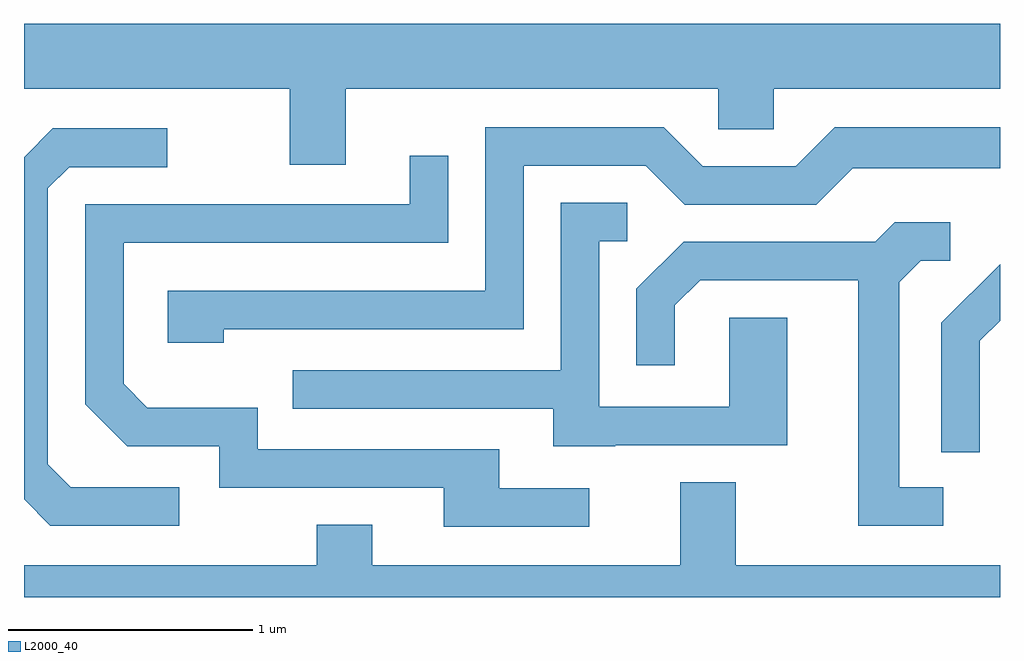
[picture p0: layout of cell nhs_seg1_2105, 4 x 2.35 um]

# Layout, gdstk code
import gdstk
lib = gdstk.Library(unit=1e-6, precision=1e-09)
def P(c, l, *ps):  # polygons
    for p in ps: c.add(gdstk.Polygon(p, *l))
L2000_40 = (2000, 40)

nhs_seg1_2105 = lib.new_cell('nhs_seg1_2105')
P(nhs_seg1_2105, L2000_40, [(250.929,901.796),(252.456,901.796),(252.456,901.631),(252.684,901.631),(252.684,901.796),(253.611,901.796),(253.611,902.064),(249.611,902.064),(249.611,901.796),(250.701,901.796),(250.701,901.486),(250.929,901.486)],
  [(250.429,900.811),(251.659,900.811),(251.659,901.481),(252.159,901.481),(252.319,901.321),(252.857,901.321),(253.007,901.471),(253.611,901.471),(253.611,901.639),(252.934,901.639),(252.774,901.479),(252.392,901.479),(252.232,901.639),(251.501,901.639),(251.501,900.969),(250.201,900.969),(250.201,900.756),(250.429,900.756)],
  [(250.248,900.164),(249.802,900.164),(249.709,900.257),(249.709,901.389),(249.797,901.476),(250.198,901.476),(250.198,901.634),(249.729,901.634),(249.611,901.517),(249.611,900.114),(249.719,900.006),(250.248,900.006)],
  [(251.928,900.159),(251.559,900.159),(251.559,900.319),(250.569,900.319),(250.569,900.489),(250.117,900.489),(250.019,900.587),(250.019,901.166),(251.349,901.166),(251.349,901.523),(251.191,901.523),(251.191,901.324),(249.861,901.324),(249.861,900.504),(250.034,900.331),(250.411,900.331),(250.411,900.161),(251.331,900.161),(251.331,900.001),(251.928,900.001)],
  [(252.035,900.336),(252.739,900.336),(252.739,900.859),(252.501,900.859),(252.501,900.494),(251.969,900.494),(251.969,901.171),(252.083,901.171),(252.083,901.329),(251.811,901.329),(251.811,900.644),(250.713,900.644),(250.713,900.486),(251.781,900.486),(251.781,900.331),(252.035,900.331)],
  [(253.378,900.164),(253.199,900.164),(253.199,901.004),(253.287,901.091),(253.408,901.091),(253.408,901.249),(253.179,901.249),(253.099,901.169),(252.314,901.169),(252.121,900.977),(252.121,900.663),(252.279,900.663),(252.279,900.909),(252.382,901.011),(253.031,901.011),(253.031,900.006),(253.378,900.006)],
  [(253.529,900.764),(253.611,900.846),(253.611,901.077),(253.371,900.837),(253.371,900.308),(253.529,900.308)],
  [(253.611,899.844),(252.529,899.844),(252.529,900.184),(252.301,900.184),(252.301,899.844),(251.039,899.844),(251.039,900.009),(250.811,900.009),(250.811,899.844),(249.611,899.844),(249.611,899.712),(253.611,899.712)])

lib.write_gds('nhs_seg1_2105.gds')
